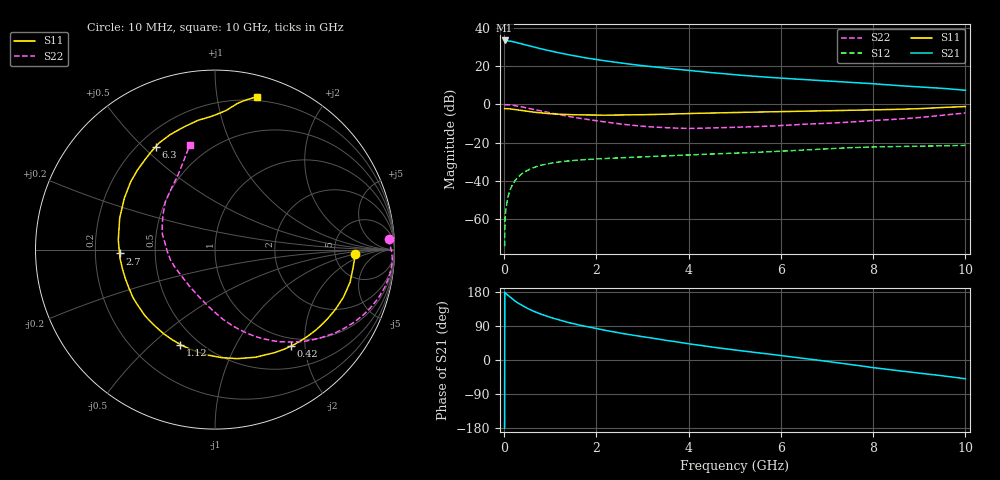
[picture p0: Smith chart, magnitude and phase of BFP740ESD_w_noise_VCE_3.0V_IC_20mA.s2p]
! Infineon Technologies  Discrete & RF Semiconductors
! BFP740ESD
! VCE =  3.0 V,  IC =  20 mA
! Common Emitter S-Parameters:  Jan 2016
# GHz  S  MA  R  50
!  f  S11  S21  S12  S22
! GHz  MAG  ANG  MAG  ANG  MAG  ANG  MAG  ANG
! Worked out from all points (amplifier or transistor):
!   233 points, 10 MHz to 10 GHz, reference 50 ohm
!   highest |S21| = 33.4 dB at 10 MHz (marker M1)
!   |S21| within 3 dB of that: start of sweep to 571 MHz
!   unconditionally stable (mu >= 1): start of sweep to 11.95 MHz; 4.595 GHz to 7.355 GHz
!   at 200 MHz: K = 0.13, MSG = 36.9 dB, |S12| = -41.1 dB
!   at 1.74 GHz: K = 0.58, MSG = 26.7 dB, |S12| = -28.8 dB
!   at 10 GHz: K = 0.73, MSG = 14.4 dB, |S12| = -21.4 dB
!   lowest NFmin = 0.79 dB at 450 MHz
!   S11 on the Smith chart (normalised r, x): 10 MHz: 7.95, -0.99; 420 MHz: 0.86, -1.73; 1.12 GHz: 0.40, -0.62; 2.7 GHz: 0.31, -0.02; 6.3 GHz: 0.27, +0.55; 10 GHz: 0.17, +1.30
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0.01  0.7797 -1.8  46.88 -180.0  0.0002 20.5  0.9693 3.6
0.02  0.7814 -2.5  46.19 177.5  0.0011 89.8  0.9861 -1.2
0.05  0.7765 -6.9  45.96 174.2  0.0023 89.1  0.9903 -3.8
0.1  0.7742 -13.6  45.59 169.1  0.0046 83.2  0.9835 -8.4
0.2  0.7488 -26.6  43.36 159.0  0.0088 77.0  0.9491 -16.6
0.3  0.7189 -38.6  40.5 150.3  0.0126 70.4  0.9033 -23.7
0.42  0.6843 -51.7  37.06 141.7  0.0167 64.7  0.8445 -31.1
0.6  0.6405 -69.5  32.52 130.7  0.0216 57.2  0.7589 -40.8
0.72  0.6156 -80.1  29.94 124.7  0.0244 53.1  0.707 -46.3
0.9  0.5883 -94.5  26.6 116.6  0.0277 47.8  0.637 -53.9
1.12  0.5631 -110.0  23.23 108.1  0.0307 42.8  0.5628 -61.8
1.4  0.543 -126.6  19.81 98.7  0.0336 38.1  0.4864 -70.5
1.68  0.5326 -140.3  17.23 90.9  0.0358 34.6  0.4285 -77.9
2.2  0.5253 -161.1  13.72 78.1  0.0389 30.4  0.3485 -90.4
2.7  0.5325 -177.7  11.39 67.4  0.0414 27.8  0.2927 -103.5
3.4  0.5537 164.1  9.145 54.1  0.045 25.5  0.2514 -122.5
4.5  0.6028 141.2  6.78 34.0  0.051 22.0  0.2441 -155.9
5.1  0.621 133.2  5.844 25.0  0.0542 20.4  0.2562 -169.2
6.3  0.662 119.9  4.626 7.4  0.0629 16.9  0.2949 167.0
6.8  0.6798 113.9  4.261 -0.4  0.0677 14.3  0.3149 159.0
8.4  0.7406 92.1  3.199 -26.1  0.0794 1.5  0.4055 128.9
10  0.883 74.7  2.348 -49.6  0.0854 -10.1  0.5988 103.6
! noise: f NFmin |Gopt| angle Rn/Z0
0.45  0.79  0.01  -64  0.1
0.9  0.82  0.02  -139  0.09
1.9  0.83  0.05  -129  0.1
2.4  0.88  0.09  -127  0.11
5.5  1.04  0.29  -122  0.12
10  1.64  0.57  -85  0.53
